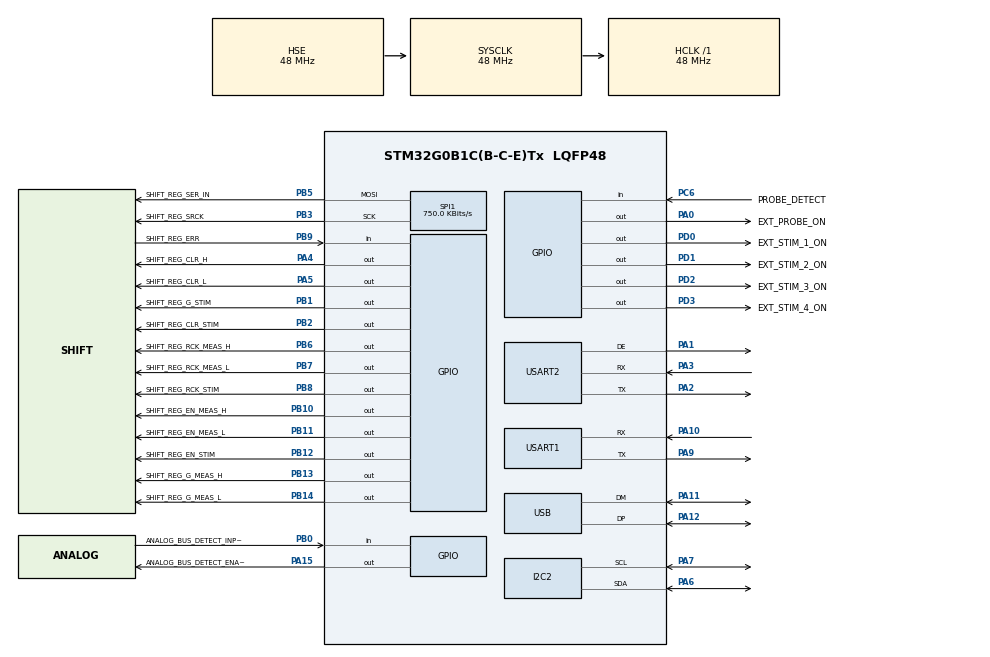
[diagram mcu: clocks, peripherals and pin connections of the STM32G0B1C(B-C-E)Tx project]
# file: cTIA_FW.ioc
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CRC.CRCLength=CRC_POLYLENGTH_8B
CRC.DefaultPolynomialUse=DEFAULT_POLYNOMIAL_DISABLE
Dma.Request0=USART1_RX
Dma.USART1_RX.0.Direction=DMA_PERIPH_TO_MEMORY
Dma.USART1_RX.0.EventEnable=DISABLE
Dma.USART1_RX.0.Instance=DMA1_Channel1
Dma.USART1_RX.0.MemDataAlignment=DMA_MDATAALIGN_BYTE
Dma.USART1_RX.0.MemInc=DMA_MINC_ENABLE
Dma.USART1_RX.0.Mode=DMA_CIRCULAR
Dma.USART1_RX.0.PeriphDataAlignment=DMA_PDATAALIGN_BYTE
Dma.USART1_RX.0.PeriphInc=DMA_PINC_DISABLE
Dma.USART1_RX.0.Polarity=HAL_DMAMUX_REQ_GEN_RISING
Dma.USART1_RX.0.Priority=DMA_PRIORITY_HIGH
Dma.USART1_RX.0.RequestNumber=1
Dma.USART1_RX.0.SignalID=NONE
Dma.USART1_RX.0.SyncEnable=DISABLE
Dma.USART1_RX.0.SyncPolarity=HAL_DMAMUX_SYNC_NO_EVENT
Dma.USART1_RX.0.SyncRequestNumber=1
Dma.USART1_RX.0.SyncSignalID=NONE
I2C2.Timing=0x10805D88
Mcu.Family=STM32G0
Mcu.Name=STM32G0B1C(B-C-E)Tx
Mcu.Package=LQFP48
NVIC.DMA1_Channel1_IRQn=true\:0\:0\:false\:false\:true\:false\:true\:true
NVIC.USB_UCPD1_2_IRQn=true\:0\:0\:false\:false\:true\:true\:true\:true
PA0.GPIO_Label=EXT_PROBE_ON
PA0.PinState=GPIO_PIN_RESET
PA0.Signal=GPIO_Output
PA1.Mode=Hardware Flow Control (RS485)
PA1.Signal=USART2_DE
PA10.Mode=Asynchronous
PA10.Signal=USART1_RX
PA11\ [PA9].Mode=Device
PA11\ [PA9].Signal=USB_DM
PA12\ [PA10].Mode=Device
PA12\ [PA10].Signal=USB_DP
PA13.Mode=Serial_Wire
PA13.Signal=SYS_SWDIO
PA14-BOOT0.Mode=Serial_Wire
PA14-BOOT0.Signal=SYS_SWCLK
PA15.GPIO_Label=ANALOG_BUS_DETECT_ENABLE
PA15.Signal=GPIO_Output
PA2.Mode=Asynchronous
PA2.Signal=USART2_TX
PA3.Mode=Asynchronous
PA3.Signal=USART2_RX
PA4.GPIO_Label=SHIFT_REG_CLR_H
PA4.PinState=GPIO_PIN_SET
PA4.Signal=GPIO_Output
PA5.GPIO_Label=SHIFT_REG_CLR_L
PA5.PinState=GPIO_PIN_SET
PA5.Signal=GPIO_Output
PA6.Mode=I2C
PA6.Signal=I2C2_SDA
PA7.Mode=I2C
PA7.Signal=I2C2_SCL
PA9.Mode=Asynchronous
PA9.Signal=USART1_TX
PB0.GPIO_Label=ANALOG_BUS_DETECT_INPUT
PB0.Signal=GPIO_Input
PB1.GPIO_Label=SHIFT_REG_G_STIM
PB1.PinState=GPIO_PIN_SET
PB1.Signal=GPIO_Output
PB10.GPIO_Label=SHIFT_REG_EN_MEAS_H
PB10.PinState=GPIO_PIN_SET
PB10.Signal=GPIO_Output
PB11.GPIO_Label=SHIFT_REG_EN_MEAS_L
PB11.PinState=GPIO_PIN_SET
PB11.Signal=GPIO_Output
PB12.GPIO_Label=SHIFT_REG_EN_STIM
PB12.PinState=GPIO_PIN_SET
PB12.Signal=GPIO_Output
PB13.GPIO_Label=SHIFT_REG_G_MEAS_H
PB13.PinState=GPIO_PIN_SET
PB13.Signal=GPIO_Output
PB14.GPIO_Label=SHIFT_REG_G_MEAS_L
PB14.PinState=GPIO_PIN_SET
PB14.Signal=GPIO_Output
PB2.GPIO_Label=SHIFT_REG_CLR_STIM
PB2.PinState=GPIO_PIN_SET
PB2.Signal=GPIO_Output
PB3.GPIO_Label=SHIFT_REG_SRCK
PB3.Mode=TX_Only_Simplex_Unidirect_Master
PB3.Signal=SPI1_SCK
PB5.GPIO_Label=SHIFT_REG_SER_IN
PB5.Mode=TX_Only_Simplex_Unidirect_Master
PB5.Signal=SPI1_MOSI
PB6.GPIO_Label=SHIFT_REG_RCK_MEAS_H
PB6.Signal=GPIO_Output
PB7.GPIO_Label=SHIFT_REG_RCK_MEAS_L
PB7.Signal=GPIO_Output
PB8.GPIO_Label=SHIFT_REG_RCK_STIM
PB8.Signal=GPIO_Output
PB9.GPIO_Label=SHIFT_REG_ERR
PB9.GPIO_PuPd=GPIO_PULLUP
PB9.Signal=GPIO_Input
PC6.GPIO_Label=PROBE_DETECT
PC6.Signal=GPIO_Input
PD0.GPIO_Label=EXT_STIM_1_ON
PD0.PinState=GPIO_PIN_RESET
PD0.Signal=GPIO_Output
PD1.GPIO_Label=EXT_STIM_2_ON
PD1.Signal=GPIO_Output
PD2.GPIO_Label=EXT_STIM_3_ON
PD2.Signal=GPIO_Output
PD3.GPIO_Label=EXT_STIM_4_ON
PD3.Signal=GPIO_Output
PF0-OSC_IN\ (PF0).Mode=HSE-External-Oscillator
PF0-OSC_IN\ (PF0).Signal=RCC_OSC_IN
PF1-OSC_OUT\ (PF1).Mode=HSE-External-Oscillator
PF1-OSC_OUT\ (PF1).Signal=RCC_OSC_OUT
ProjectManager.HeapSize=0x200
ProjectManager.StackSize=0x400
ProjectManager.TargetToolchain=STM32CubeIDE
RCC.ADCFreq_Value=48000000
RCC.AHBFreq_Value=48000000
RCC.CortexFreq_Value=48000000
RCC.EXTERNAL_CLOCK_VALUE=48000
RCC.EnbaleCSS=true
RCC.HCLKFreq_Value=48000000
RCC.HSE_VALUE=48000000
RCC.HSI48_VALUE=48000000
RCC.HSI_VALUE=16000000
RCC.LSE_VALUE=32768
RCC.PLLM=RCC_PLLM_DIV3
RCC.PLLQ=RCC_PLLQ_DIV3
RCC.PLLSourceVirtual=RCC_PLLSOURCE_HSE
RCC.SYSCLKFreq_VALUE=48000000
RCC.SYSCLKSource=RCC_SYSCLKSOURCE_HSE
RCC.USBCLockSelection=RCC_USBCLKSOURCE_HSE
RCC.USBFreq_Value=48000000
RCC.VCOOutputFreq_Value=128000000
SPI1.BaudRatePrescaler=SPI_BAUDRATEPRESCALER_64
SPI1.CRCCalculation=SPI_CRCCALCULATION_DISABLE
SPI1.CalculateBaudRate=750.0 KBits/s
SPI1.DataSize=SPI_DATASIZE_8BIT
SPI1.Direction=SPI_DIRECTION_2LINES
SPI1.Mode=SPI_MODE_MASTER
SPI1.NSSPMode=SPI_NSS_PULSE_DISABLE
SPI1.VirtualType=VM_MASTER
USART1.VirtualMode-Asynchronous=VM_ASYNC
USART2.VirtualMode-Asynchronous=VM_ASYNC
USART2.VirtualMode-Hardware\ Flow\ Control\ (RS485)=VM_ASYNC
USB_DEVICE.CLASS_NAME_FS=CDC
USB_DEVICE.PRODUCT_STRING_CDC_FS=compact Test Interface Adapter
USB_DEVICE.USBD_LPM_ENABLED=1
USB_DEVICE.VirtualMode=Cdc
USB_DEVICE.VirtualModeFS=Cdc_FS
USB_DRD_FS.Sof_enable=DISABLE
VP_CRC_VS_CRC.Mode=CRC_Activate
VP_SYS_VS_DBSignals.Mode=DisableDeadBatterySignals
VP_USB_DEVICE_VS_USB_DEVICE_CDC_FS.Mode=CDC_FS
board=custom

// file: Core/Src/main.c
/* USER CODE BEGIN Header */
/**
  ******************************************************************************
  * @file           : main.c
  * @brief          : Main program body
  ******************************************************************************
  * @attention
  *
  * Copyright (c) 2025 STMicroelectronics.
  * All rights reserved.
  *
  * This software is licensed under terms that can be found in the LICENSE file
  * in the root directory of this software component.
  * If no LICENSE file comes with this software, it is provided AS-IS.
  *
  ******************************************************************************
  */
/* USER CODE END Header */
#include "main.h"
#include "crc.h"
#include "dma.h"
#include "i2c.h"
#include "spi.h"
#include "usart.h"
#include "usb_device.h"
#include "gpio.h"

/* USER CODE BEGIN Includes */
#include "cTIA.h"
#include "command_handler.h"
#include "device_config.h"
/* USER CODE END Includes */

/* USER CODE BEGIN PV */
device_config_t cTIA_config;
/* USER CODE END PV */

void SystemClock_Config(void);

int main(void)
{

  /* MCU Configuration--------------------------------------------------------*/

  /* Reset of all peripherals, Initializes the Flash interface and the Systick. */
  HAL_Init();

  /* Configure the system clock */
  SystemClock_Config();

  /* Initialize all configured peripherals */
  MX_GPIO_Init();
  MX_DMA_Init();
  MX_USB_Device_Init();
  MX_I2C2_Init();
  MX_SPI1_Init();
  MX_USART1_UART_Init();
  MX_USART2_UART_Init();
  MX_CRC_Init();
  /* USER CODE BEGIN 2 */

  /* Enable SHIFT REGISTERS */
  HAL_GPIO_WritePin(SHIFT_REG_EN_STIM_GPIO_Port, SHIFT_REG_EN_STIM_Pin, GPIO_PIN_RESET);
  HAL_GPIO_WritePin(SHIFT_REG_EN_MEAS_H_GPIO_Port, SHIFT_REG_EN_MEAS_H_Pin, GPIO_PIN_RESET);
  HAL_GPIO_WritePin(SHIFT_REG_EN_MEAS_L_GPIO_Port, SHIFT_REG_EN_MEAS_L_Pin, GPIO_PIN_RESET);

  cTIA_clear_all_relays();

  HAL_GPIO_WritePin(SHIFT_REG_G_MEAS_H_GPIO_Port, SHIFT_REG_G_MEAS_H_Pin, GPIO_PIN_RESET);
  HAL_GPIO_WritePin(SHIFT_REG_G_MEAS_L_GPIO_Port, SHIFT_REG_G_MEAS_L_Pin, GPIO_PIN_RESET);
  HAL_GPIO_WritePin(SHIFT_REG_G_STIM_GPIO_Port, SHIFT_REG_G_STIM_Pin, GPIO_PIN_RESET);

  device_config_load(&cTIA_config);
  cTIA_uart_init();

  /* USER CODE END 2 */

  /* Infinite loop */
  /* USER CODE BEGIN WHILE */
  while (1) {

	  if (get_frame_ready()) {

		  cmd_frame_t *cmd_frame = NULL;
		  get_frame(&cmd_frame);
		  handle_command(cmd_frame);
		  clear_frame_ready();

	  }
    /* USER CODE END WHILE */

  }
}

void SystemClock_Config(void)
{
  RCC_OscInitTypeDef RCC_OscInitStruct = {0};
  RCC_ClkInitTypeDef RCC_ClkInitStruct = {0};

  /** Configure the main internal regulator output voltage
  */
  HAL_PWREx_ControlVoltageScaling(PWR_REGULATOR_VOLTAGE_SCALE1);

  /** Initializes the RCC Oscillators according to the specified parameters
  * in the RCC_OscInitTypeDef structure.
  */
  RCC_OscInitStruct.OscillatorType = RCC_OSCILLATORTYPE_HSE;
  RCC_OscInitStruct.HSEState = RCC_HSE_ON;
  RCC_OscInitStruct.PLL.PLLState = RCC_PLL_NONE;
  if (HAL_RCC_OscConfig(&RCC_OscInitStruct) != HAL_OK)
  {
    Error_Handler();
  }

  /** Initializes the CPU, AHB and APB buses clocks
  */
  RCC_ClkInitStruct.ClockType = RCC_CLOCKTYPE_HCLK|RCC_CLOCKTYPE_SYSCLK
                              |RCC_CLOCKTYPE_PCLK1;
  RCC_ClkInitStruct.SYSCLKSource = RCC_SYSCLKSOURCE_HSE;
  RCC_ClkInitStruct.AHBCLKDivider = RCC_SYSCLK_DIV1;
  RCC_ClkInitStruct.APB1CLKDivider = RCC_HCLK_DIV1;

  if (HAL_RCC_ClockConfig(&RCC_ClkInitStruct, FLASH_LATENCY_1) != HAL_OK)
  {
    Error_Handler();
  }

  /** Enables the Clock Security System
  */
  HAL_RCC_EnableCSS();
}

void Error_Handler(void)
{
  __disable_irq();
  while (1)
  {
  }
}
